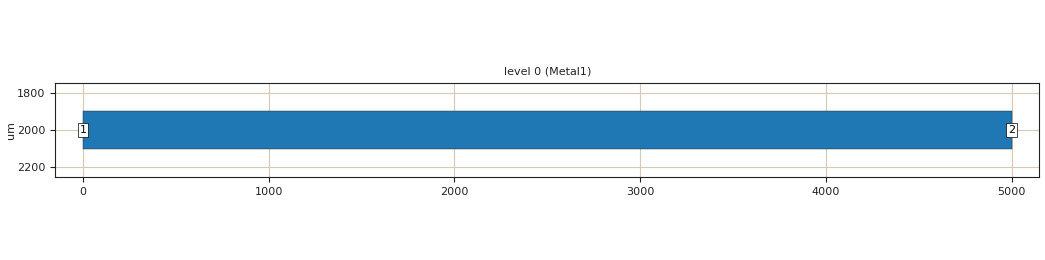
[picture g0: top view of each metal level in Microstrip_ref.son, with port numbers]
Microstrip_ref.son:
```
FTYP SONPROJ 19 ! Sonnet Project File
VER 18.58
HEADER
LIC upsud50.3.85032
DAT 12/30/2024 21:34:40
BUILT_BY_CREATED xgeom 18.58 12/30/2024 13:59:42
BUILT_BY_SAVED sonnet 18.58
MDATE 12/30/2024 21:26:45
HDATE 12/30/2024 21:26:45
END HEADER
DIM
ANG DEG
CAP PF
CON /OH
FREQ GHZ
IND NH
LNG UM
RES OH
END DIM
CONTROL
VARSWP
OPTIONS  -d
SPEED 0
CACHE_ABS 2
Q_ACC N
END CONTROL
GEO
SYM
DRP1 LEFT FIX 500
DRP1 RIGHT FIX 500
TMET "Lossless" 0 SUP 0 0 0 0
BMET "Lossless" 0 SUP 0 0 0 0
BOX 1 5000 4000 200 1600 20 0
      2000 1 1 0 0 0 0 "Air"
      300 11.9 1 0.004 0 0.00044 0 "Silicon (intrinsic)"
TECHLAY METAL Metal1 <UNSPECIFIED> -2 -65534 
0 0 -1 N 64 1 1 100 100 0 0 0 Y
END
END
VALVAR w LNG 210 "Dim. Param."
LORGN 0 4000 U 
POR1 BOX
POLY 53 1
3
1 50 0 0 0 7.10542736e-15 2000 
POR1 BOX
POLY 53 1
1
2 50 0 0 0 5000 2000 
NUM 1
0 5 -1 N 53 1 1 100 100 0 0 0 Y
TLAYNAM Metal1 INH
0 1895
5000 1895
5000 2105
1.421085472e-14 2105
0 1895
END
END GEO
OPT
MAX 100
END OPT
VARSWP
SWPVARS ON
ENABLED Y
FREQ Y AY ABS_ENTRY 0.1 10.0 -1 300 
VAR w Y 220.0 220.0 UNDEF
VAR w Y 210.0 250.0 10.0
END
END VARSWP
FILEOUT
TOUCH D Y $BASENAME.s2p IC 15 S MA R 50.00000
FOLDER .
END FILEOUT
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```
